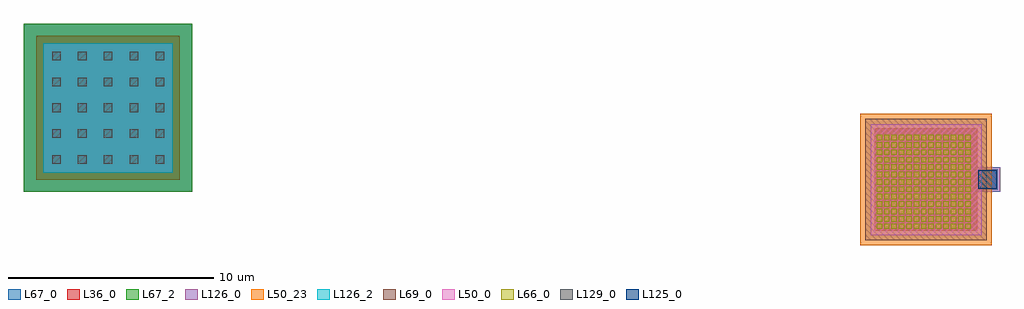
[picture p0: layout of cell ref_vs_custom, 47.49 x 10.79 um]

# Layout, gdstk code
import gdstk
lib = gdstk.Library(unit=1e-6, precision=1e-09)
def R(c, l, rs):  # rectangles x0, y0, x1, y1
    for r in rs: c.add(gdstk.rectangle(r[:2], r[2:], *l))
def A(c, l, x, y, w, h, nx, ny, dx, dy):  # array of equal rectangles
    R(c, l, [(x+i*dx, y+j*dy, x+i*dx+w, y+j*dy+h) for i in range(nx) for j in range(ny)])
L36_0 = (36, 0)
L50_0 = (50, 0)
L50_23 = (50, 23)
L66_0 = (66, 0)
L67_0 = (67, 0)
L67_2 = (67, 2)
L69_0 = (69, 0)
L125_0 = (125, 0)
L126_0 = (126, 0)
L126_2 = (126, 2)
L129_0 = (129, 0)

cmim = lib.new_cell('cmim')
R(cmim, L36_0, [(0,0,6.99,6.99)])
R(cmim, L67_0, [(-0.6,-0.6,7.59,7.59)])
R(cmim, L67_2, [(-0.6,-0.6,7.59,7.59)])
R(cmim, L126_0, [(0.345,0.345,6.645,6.645)])
R(cmim, L126_2, [(0.345,0.345,6.645,6.645)])
A(cmim, L129_0, 0.765, 0.765, 0.42, 0.42, 5, 5, 1.26, 1.26)
cmim.add(gdstk.Label('cmim', (3.495,3.495), layer=63, texttype=0))
cmim.add(gdstk.Label('c=74.620f', (3.495,3.495), layer=63, texttype=0))

rectangle_gdsfactorypcom = lib.new_cell('rectangle_gdsfactorypcomponentspshapesprectangle_S5p4_5_b63a100d')
R(rectangle_gdsfactorypcom, L50_0, [(-2.7,-2.7,2.7,2.7)])

c_rectangle_gdsfactorypcom = lib.new_cell('rectangle_gdsfactorypcomponentspshapesprectangle_S5_5_L_ae2a6a6b')
R(c_rectangle_gdsfactorypcom, L36_0, [(-2.5,-2.5,2.5,2.5)])

c_rectangle_gdsfactorypcom_ = lib.new_cell('rectangle_gdsfactorypcomponentspshapesprectangle_S5_5_L_c7f514b2')
R(c_rectangle_gdsfactorypcom_, L67_0, [(-2.5,-2.5,2.5,2.5)])

c_rectangle_gdsfactorypcom__ = lib.new_cell('rectangle_gdsfactorypcomponentspshapesprectangle_S0p26__4a819c78')
R(c_rectangle_gdsfactorypcom__, L66_0, [(-0.13,-0.13,0.13,0.13)])

c_rectangle_gdsfactorypcom___ = lib.new_cell('rectangle_gdsfactorypcomponentspshapesprectangle_S1p2_1_8ba3885d')
R(c_rectangle_gdsfactorypcom___, L50_0, [(0,0,1.2,1)])

c_rectangle_gdsfactorypcom____ = lib.new_cell('rectangle_gdsfactorypcomponentspshapesprectangle_S1_1_L_4ec315f6')
R(c_rectangle_gdsfactorypcom____, L67_0, [(0,0,1,1)])

c_rectangle_gdsfactorypcom_____ = lib.new_cell('rectangle_gdsfactorypcomponentspshapesprectangle_S0p9_0_580d79c8')
R(c_rectangle_gdsfactorypcom_____, L125_0, [(-0.45,-0.45,0.45,0.45)])

c_rectangle_gdsfactorypcom______ = lib.new_cell('rectangle_gdsfactorypcomponentspshapesprectangle_S1p2_1_e088ba0d')
R(c_rectangle_gdsfactorypcom______, L126_0, [(-0.6,-0.6,0.6,0.6)])

c_rectangle_gdsfactorypcom_______ = lib.new_cell('rectangle_gdsfactorypcomponentspshapesprectangle_S5p9_5_d3bec335')
R(c_rectangle_gdsfactorypcom_______, L69_0, [(-2.95,-2.95,2.95,2.95)])

c_rectangle_gdsfactorypcom________ = lib.new_cell('rectangle_gdsfactorypcomponentspshapesprectangle_S6p4_6_ee191b5b')
R(c_rectangle_gdsfactorypcom________, L50_23, [(-3.2,-3.2,3.2,3.2)])

cmim_w5_l5_cnone_mcmim_l = lib.new_cell('cmim_W5_L5_CNone_Mcmim_LMMetal4drawing_LMMetal5drawing__f10ce5d7')
cmim_w5_l5_cnone_mcmim_l.add(gdstk.Reference(rectangle_gdsfactorypcom, (0,0)))
cmim_w5_l5_cnone_mcmim_l.add(gdstk.Reference(c_rectangle_gdsfactorypcom, (0,0)))
cmim_w5_l5_cnone_mcmim_l.add(gdstk.Reference(c_rectangle_gdsfactorypcom_, (0,0)))
cmim_w5_l5_cnone_mcmim_l.add(gdstk.Reference(c_rectangle_gdsfactorypcom__, (-2.27,-0.11)))
cmim_w5_l5_cnone_mcmim_l.add(gdstk.Reference(c_rectangle_gdsfactorypcom__, (-1.91,-0.11)))
cmim_w5_l5_cnone_mcmim_l.add(gdstk.Reference(c_rectangle_gdsfactorypcom__, (-1.55,-0.11)))
cmim_w5_l5_cnone_mcmim_l.add(gdstk.Reference(c_rectangle_gdsfactorypcom__, (-1.19,-0.11)))
cmim_w5_l5_cnone_mcmim_l.add(gdstk.Reference(c_rectangle_gdsfactorypcom__, (-0.83,-0.11)))
cmim_w5_l5_cnone_mcmim_l.add(gdstk.Reference(c_rectangle_gdsfactorypcom__, (-0.47,-0.11)))
cmim_w5_l5_cnone_mcmim_l.add(gdstk.Reference(c_rectangle_gdsfactorypcom__, (-0.11,-0.11)))
cmim_w5_l5_cnone_mcmim_l.add(gdstk.Reference(c_rectangle_gdsfactorypcom__, (0.25,-2.27)))
cmim_w5_l5_cnone_mcmim_l.add(gdstk.Reference(c_rectangle_gdsfactorypcom__, (0.25,-1.91)))
cmim_w5_l5_cnone_mcmim_l.add(gdstk.Reference(c_rectangle_gdsfactorypcom__, (0.25,-1.55)))
cmim_w5_l5_cnone_mcmim_l.add(gdstk.Reference(c_rectangle_gdsfactorypcom__, (0.25,-1.19)))
cmim_w5_l5_cnone_mcmim_l.add(gdstk.Reference(c_rectangle_gdsfactorypcom__, (0.25,-0.83)))
cmim_w5_l5_cnone_mcmim_l.add(gdstk.Reference(c_rectangle_gdsfactorypcom__, (0.25,-0.47)))
cmim_w5_l5_cnone_mcmim_l.add(gdstk.Reference(c_rectangle_gdsfactorypcom__, (0.25,-0.11)))
cmim_w5_l5_cnone_mcmim_l.add(gdstk.Reference(c_rectangle_gdsfactorypcom__, (0.25,0.25)))
cmim_w5_l5_cnone_mcmim_l.add(gdstk.Reference(c_rectangle_gdsfactorypcom__, (0.25,0.61)))
cmim_w5_l5_cnone_mcmim_l.add(gdstk.Reference(c_rectangle_gdsfactorypcom__, (0.25,0.97)))
cmim_w5_l5_cnone_mcmim_l.add(gdstk.Reference(c_rectangle_gdsfactorypcom__, (0.25,1.33)))
cmim_w5_l5_cnone_mcmim_l.add(gdstk.Reference(c_rectangle_gdsfactorypcom__, (0.25,1.69)))
cmim_w5_l5_cnone_mcmim_l.add(gdstk.Reference(c_rectangle_gdsfactorypcom__, (0.25,2.05)))
cmim_w5_l5_cnone_mcmim_l.add(gdstk.Reference(c_rectangle_gdsfactorypcom__, (0.61,-0.11)))
cmim_w5_l5_cnone_mcmim_l.add(gdstk.Reference(c_rectangle_gdsfactorypcom__, (0.97,-0.11)))
cmim_w5_l5_cnone_mcmim_l.add(gdstk.Reference(c_rectangle_gdsfactorypcom__, (1.33,-0.11)))
cmim_w5_l5_cnone_mcmim_l.add(gdstk.Reference(c_rectangle_gdsfactorypcom__, (1.69,-0.11)))
cmim_w5_l5_cnone_mcmim_l.add(gdstk.Reference(c_rectangle_gdsfactorypcom__, (2.05,-0.11)))
cmim_w5_l5_cnone_mcmim_l.add(gdstk.Reference(c_rectangle_gdsfactorypcom___, (-2.7,-0.5)))
cmim_w5_l5_cnone_mcmim_l.add(gdstk.Reference(c_rectangle_gdsfactorypcom____, (2.5,-0.5)))
cmim_w5_l5_cnone_mcmim_l.add(gdstk.Reference(c_rectangle_gdsfactorypcom_____, (3,0)))
cmim_w5_l5_cnone_mcmim_l.add(gdstk.Reference(c_rectangle_gdsfactorypcom______, (3,0)))
cmim_w5_l5_cnone_mcmim_l.add(gdstk.Reference(c_rectangle_gdsfactorypcom_______, (0,0)))
cmim_w5_l5_cnone_mcmim_l.add(gdstk.Reference(c_rectangle_gdsfactorypcom________, (0,0)))
cmim_w5_l5_cnone_mcmim_l.add(gdstk.Reference(c_rectangle_gdsfactorypcom__, (0.97,1.33)))
cmim_w5_l5_cnone_mcmim_l.add(gdstk.Reference(c_rectangle_gdsfactorypcom__, (0.97,1.69)))
cmim_w5_l5_cnone_mcmim_l.add(gdstk.Reference(c_rectangle_gdsfactorypcom__, (0.97,2.05)))
cmim_w5_l5_cnone_mcmim_l.add(gdstk.Reference(c_rectangle_gdsfactorypcom__, (0.61,0.61)))
cmim_w5_l5_cnone_mcmim_l.add(gdstk.Reference(c_rectangle_gdsfactorypcom__, (1.33,0.25)))
cmim_w5_l5_cnone_mcmim_l.add(gdstk.Reference(c_rectangle_gdsfactorypcom__, (1.33,0.61)))
cmim_w5_l5_cnone_mcmim_l.add(gdstk.Reference(c_rectangle_gdsfactorypcom__, (1.33,0.97)))
cmim_w5_l5_cnone_mcmim_l.add(gdstk.Reference(c_rectangle_gdsfactorypcom__, (1.33,1.33)))
cmim_w5_l5_cnone_mcmim_l.add(gdstk.Reference(c_rectangle_gdsfactorypcom__, (1.33,1.69)))
cmim_w5_l5_cnone_mcmim_l.add(gdstk.Reference(c_rectangle_gdsfactorypcom__, (1.33,2.05)))
cmim_w5_l5_cnone_mcmim_l.add(gdstk.Reference(c_rectangle_gdsfactorypcom__, (0.61,0.97)))
cmim_w5_l5_cnone_mcmim_l.add(gdstk.Reference(c_rectangle_gdsfactorypcom__, (1.69,0.25)))
cmim_w5_l5_cnone_mcmim_l.add(gdstk.Reference(c_rectangle_gdsfactorypcom__, (1.69,0.61)))
cmim_w5_l5_cnone_mcmim_l.add(gdstk.Reference(c_rectangle_gdsfactorypcom__, (1.69,0.97)))
cmim_w5_l5_cnone_mcmim_l.add(gdstk.Reference(c_rectangle_gdsfactorypcom__, (1.69,1.33)))
cmim_w5_l5_cnone_mcmim_l.add(gdstk.Reference(c_rectangle_gdsfactorypcom__, (1.69,1.69)))
cmim_w5_l5_cnone_mcmim_l.add(gdstk.Reference(c_rectangle_gdsfactorypcom__, (1.69,2.05)))
cmim_w5_l5_cnone_mcmim_l.add(gdstk.Reference(c_rectangle_gdsfactorypcom__, (0.61,1.33)))
cmim_w5_l5_cnone_mcmim_l.add(gdstk.Reference(c_rectangle_gdsfactorypcom__, (2.05,0.25)))
cmim_w5_l5_cnone_mcmim_l.add(gdstk.Reference(c_rectangle_gdsfactorypcom__, (2.05,0.61)))
cmim_w5_l5_cnone_mcmim_l.add(gdstk.Reference(c_rectangle_gdsfactorypcom__, (2.05,0.97)))
cmim_w5_l5_cnone_mcmim_l.add(gdstk.Reference(c_rectangle_gdsfactorypcom__, (2.05,1.33)))
cmim_w5_l5_cnone_mcmim_l.add(gdstk.Reference(c_rectangle_gdsfactorypcom__, (2.05,1.69)))
cmim_w5_l5_cnone_mcmim_l.add(gdstk.Reference(c_rectangle_gdsfactorypcom__, (2.05,2.05)))
cmim_w5_l5_cnone_mcmim_l.add(gdstk.Reference(c_rectangle_gdsfactorypcom__, (0.61,1.69)))
cmim_w5_l5_cnone_mcmim_l.add(gdstk.Reference(c_rectangle_gdsfactorypcom__, (0.61,2.05)))
cmim_w5_l5_cnone_mcmim_l.add(gdstk.Reference(c_rectangle_gdsfactorypcom__, (0.61,0.25)))
cmim_w5_l5_cnone_mcmim_l.add(gdstk.Reference(c_rectangle_gdsfactorypcom__, (0.97,0.25)))
cmim_w5_l5_cnone_mcmim_l.add(gdstk.Reference(c_rectangle_gdsfactorypcom__, (0.97,0.61)))
cmim_w5_l5_cnone_mcmim_l.add(gdstk.Reference(c_rectangle_gdsfactorypcom__, (0.97,0.97)))
cmim_w5_l5_cnone_mcmim_l.add(gdstk.Reference(c_rectangle_gdsfactorypcom__, (-1.55,1.69)))
cmim_w5_l5_cnone_mcmim_l.add(gdstk.Reference(c_rectangle_gdsfactorypcom__, (-1.55,2.05)))
cmim_w5_l5_cnone_mcmim_l.add(gdstk.Reference(c_rectangle_gdsfactorypcom__, (-2.27,0.97)))
cmim_w5_l5_cnone_mcmim_l.add(gdstk.Reference(c_rectangle_gdsfactorypcom__, (-1.19,0.25)))
cmim_w5_l5_cnone_mcmim_l.add(gdstk.Reference(c_rectangle_gdsfactorypcom__, (-1.19,0.61)))
cmim_w5_l5_cnone_mcmim_l.add(gdstk.Reference(c_rectangle_gdsfactorypcom__, (-1.19,0.97)))
cmim_w5_l5_cnone_mcmim_l.add(gdstk.Reference(c_rectangle_gdsfactorypcom__, (-1.19,1.33)))
cmim_w5_l5_cnone_mcmim_l.add(gdstk.Reference(c_rectangle_gdsfactorypcom__, (-1.19,1.69)))
cmim_w5_l5_cnone_mcmim_l.add(gdstk.Reference(c_rectangle_gdsfactorypcom__, (-1.19,2.05)))
cmim_w5_l5_cnone_mcmim_l.add(gdstk.Reference(c_rectangle_gdsfactorypcom__, (-2.27,1.33)))
cmim_w5_l5_cnone_mcmim_l.add(gdstk.Reference(c_rectangle_gdsfactorypcom__, (-0.83,0.25)))
cmim_w5_l5_cnone_mcmim_l.add(gdstk.Reference(c_rectangle_gdsfactorypcom__, (-0.83,0.61)))
cmim_w5_l5_cnone_mcmim_l.add(gdstk.Reference(c_rectangle_gdsfactorypcom__, (-0.83,0.97)))
cmim_w5_l5_cnone_mcmim_l.add(gdstk.Reference(c_rectangle_gdsfactorypcom__, (-0.83,1.33)))
cmim_w5_l5_cnone_mcmim_l.add(gdstk.Reference(c_rectangle_gdsfactorypcom__, (-0.83,1.69)))
cmim_w5_l5_cnone_mcmim_l.add(gdstk.Reference(c_rectangle_gdsfactorypcom__, (-0.83,2.05)))
cmim_w5_l5_cnone_mcmim_l.add(gdstk.Reference(c_rectangle_gdsfactorypcom__, (-2.27,1.69)))
cmim_w5_l5_cnone_mcmim_l.add(gdstk.Reference(c_rectangle_gdsfactorypcom__, (-0.47,0.25)))
cmim_w5_l5_cnone_mcmim_l.add(gdstk.Reference(c_rectangle_gdsfactorypcom__, (-0.47,0.61)))
cmim_w5_l5_cnone_mcmim_l.add(gdstk.Reference(c_rectangle_gdsfactorypcom__, (-0.47,0.97)))
cmim_w5_l5_cnone_mcmim_l.add(gdstk.Reference(c_rectangle_gdsfactorypcom__, (-0.47,1.33)))
cmim_w5_l5_cnone_mcmim_l.add(gdstk.Reference(c_rectangle_gdsfactorypcom__, (-0.47,1.69)))
cmim_w5_l5_cnone_mcmim_l.add(gdstk.Reference(c_rectangle_gdsfactorypcom__, (-0.47,2.05)))
cmim_w5_l5_cnone_mcmim_l.add(gdstk.Reference(c_rectangle_gdsfactorypcom__, (-2.27,2.05)))
cmim_w5_l5_cnone_mcmim_l.add(gdstk.Reference(c_rectangle_gdsfactorypcom__, (-0.11,0.25)))
cmim_w5_l5_cnone_mcmim_l.add(gdstk.Reference(c_rectangle_gdsfactorypcom__, (-0.11,0.61)))
cmim_w5_l5_cnone_mcmim_l.add(gdstk.Reference(c_rectangle_gdsfactorypcom__, (-0.11,0.97)))
cmim_w5_l5_cnone_mcmim_l.add(gdstk.Reference(c_rectangle_gdsfactorypcom__, (-0.11,1.33)))
cmim_w5_l5_cnone_mcmim_l.add(gdstk.Reference(c_rectangle_gdsfactorypcom__, (-0.11,1.69)))
cmim_w5_l5_cnone_mcmim_l.add(gdstk.Reference(c_rectangle_gdsfactorypcom__, (-0.11,2.05)))
cmim_w5_l5_cnone_mcmim_l.add(gdstk.Reference(c_rectangle_gdsfactorypcom__, (-2.27,0.25)))
cmim_w5_l5_cnone_mcmim_l.add(gdstk.Reference(c_rectangle_gdsfactorypcom__, (-1.91,0.25)))
cmim_w5_l5_cnone_mcmim_l.add(gdstk.Reference(c_rectangle_gdsfactorypcom__, (-1.91,0.61)))
cmim_w5_l5_cnone_mcmim_l.add(gdstk.Reference(c_rectangle_gdsfactorypcom__, (-1.91,0.97)))
cmim_w5_l5_cnone_mcmim_l.add(gdstk.Reference(c_rectangle_gdsfactorypcom__, (-1.91,1.33)))
cmim_w5_l5_cnone_mcmim_l.add(gdstk.Reference(c_rectangle_gdsfactorypcom__, (-1.91,1.69)))
cmim_w5_l5_cnone_mcmim_l.add(gdstk.Reference(c_rectangle_gdsfactorypcom__, (-1.91,2.05)))
cmim_w5_l5_cnone_mcmim_l.add(gdstk.Reference(c_rectangle_gdsfactorypcom__, (-2.27,0.61)))
cmim_w5_l5_cnone_mcmim_l.add(gdstk.Reference(c_rectangle_gdsfactorypcom__, (-1.55,0.25)))
cmim_w5_l5_cnone_mcmim_l.add(gdstk.Reference(c_rectangle_gdsfactorypcom__, (-1.55,0.61)))
cmim_w5_l5_cnone_mcmim_l.add(gdstk.Reference(c_rectangle_gdsfactorypcom__, (-1.55,0.97)))
cmim_w5_l5_cnone_mcmim_l.add(gdstk.Reference(c_rectangle_gdsfactorypcom__, (-1.55,1.33)))
cmim_w5_l5_cnone_mcmim_l.add(gdstk.Reference(c_rectangle_gdsfactorypcom__, (-1.55,-0.47)))
cmim_w5_l5_cnone_mcmim_l.add(gdstk.Reference(c_rectangle_gdsfactorypcom__, (-1.91,-1.91)))
cmim_w5_l5_cnone_mcmim_l.add(gdstk.Reference(c_rectangle_gdsfactorypcom__, (-1.91,-1.55)))
cmim_w5_l5_cnone_mcmim_l.add(gdstk.Reference(c_rectangle_gdsfactorypcom__, (-1.91,-1.19)))
cmim_w5_l5_cnone_mcmim_l.add(gdstk.Reference(c_rectangle_gdsfactorypcom__, (-0.47,-2.27)))
cmim_w5_l5_cnone_mcmim_l.add(gdstk.Reference(c_rectangle_gdsfactorypcom__, (-0.47,-1.91)))
cmim_w5_l5_cnone_mcmim_l.add(gdstk.Reference(c_rectangle_gdsfactorypcom__, (-0.47,-1.55)))
cmim_w5_l5_cnone_mcmim_l.add(gdstk.Reference(c_rectangle_gdsfactorypcom__, (-0.47,-1.19)))
cmim_w5_l5_cnone_mcmim_l.add(gdstk.Reference(c_rectangle_gdsfactorypcom__, (-0.47,-0.83)))
cmim_w5_l5_cnone_mcmim_l.add(gdstk.Reference(c_rectangle_gdsfactorypcom__, (-0.47,-0.47)))
cmim_w5_l5_cnone_mcmim_l.add(gdstk.Reference(c_rectangle_gdsfactorypcom__, (-1.91,-0.83)))
cmim_w5_l5_cnone_mcmim_l.add(gdstk.Reference(c_rectangle_gdsfactorypcom__, (-1.91,-0.47)))
cmim_w5_l5_cnone_mcmim_l.add(gdstk.Reference(c_rectangle_gdsfactorypcom__, (-2.27,-1.91)))
cmim_w5_l5_cnone_mcmim_l.add(gdstk.Reference(c_rectangle_gdsfactorypcom__, (-2.27,-1.55)))
cmim_w5_l5_cnone_mcmim_l.add(gdstk.Reference(c_rectangle_gdsfactorypcom__, (-1.19,-2.27)))
cmim_w5_l5_cnone_mcmim_l.add(gdstk.Reference(c_rectangle_gdsfactorypcom__, (-1.19,-1.91)))
cmim_w5_l5_cnone_mcmim_l.add(gdstk.Reference(c_rectangle_gdsfactorypcom__, (-1.19,-1.55)))
cmim_w5_l5_cnone_mcmim_l.add(gdstk.Reference(c_rectangle_gdsfactorypcom__, (-0.11,-2.27)))
cmim_w5_l5_cnone_mcmim_l.add(gdstk.Reference(c_rectangle_gdsfactorypcom__, (-0.11,-1.91)))
cmim_w5_l5_cnone_mcmim_l.add(gdstk.Reference(c_rectangle_gdsfactorypcom__, (-0.11,-1.55)))
cmim_w5_l5_cnone_mcmim_l.add(gdstk.Reference(c_rectangle_gdsfactorypcom__, (-0.11,-1.19)))
cmim_w5_l5_cnone_mcmim_l.add(gdstk.Reference(c_rectangle_gdsfactorypcom__, (-0.11,-0.83)))
cmim_w5_l5_cnone_mcmim_l.add(gdstk.Reference(c_rectangle_gdsfactorypcom__, (-0.11,-0.47)))
cmim_w5_l5_cnone_mcmim_l.add(gdstk.Reference(c_rectangle_gdsfactorypcom__, (-1.19,-1.19)))
cmim_w5_l5_cnone_mcmim_l.add(gdstk.Reference(c_rectangle_gdsfactorypcom__, (-1.19,-0.83)))
cmim_w5_l5_cnone_mcmim_l.add(gdstk.Reference(c_rectangle_gdsfactorypcom__, (-1.19,-0.47)))
cmim_w5_l5_cnone_mcmim_l.add(gdstk.Reference(c_rectangle_gdsfactorypcom__, (-2.27,-1.19)))
cmim_w5_l5_cnone_mcmim_l.add(gdstk.Reference(c_rectangle_gdsfactorypcom__, (-2.27,-0.83)))
cmim_w5_l5_cnone_mcmim_l.add(gdstk.Reference(c_rectangle_gdsfactorypcom__, (-2.27,-0.47)))
cmim_w5_l5_cnone_mcmim_l.add(gdstk.Reference(c_rectangle_gdsfactorypcom__, (-2.27,-2.27)))
cmim_w5_l5_cnone_mcmim_l.add(gdstk.Reference(c_rectangle_gdsfactorypcom__, (-1.91,-2.27)))
cmim_w5_l5_cnone_mcmim_l.add(gdstk.Reference(c_rectangle_gdsfactorypcom__, (-1.55,-2.27)))
cmim_w5_l5_cnone_mcmim_l.add(gdstk.Reference(c_rectangle_gdsfactorypcom__, (-1.55,-1.91)))
cmim_w5_l5_cnone_mcmim_l.add(gdstk.Reference(c_rectangle_gdsfactorypcom__, (-0.83,-2.27)))
cmim_w5_l5_cnone_mcmim_l.add(gdstk.Reference(c_rectangle_gdsfactorypcom__, (-0.83,-1.91)))
cmim_w5_l5_cnone_mcmim_l.add(gdstk.Reference(c_rectangle_gdsfactorypcom__, (-0.83,-1.55)))
cmim_w5_l5_cnone_mcmim_l.add(gdstk.Reference(c_rectangle_gdsfactorypcom__, (-0.83,-1.19)))
cmim_w5_l5_cnone_mcmim_l.add(gdstk.Reference(c_rectangle_gdsfactorypcom__, (-0.83,-0.83)))
cmim_w5_l5_cnone_mcmim_l.add(gdstk.Reference(c_rectangle_gdsfactorypcom__, (-0.83,-0.47)))
cmim_w5_l5_cnone_mcmim_l.add(gdstk.Reference(c_rectangle_gdsfactorypcom__, (-1.55,-1.55)))
cmim_w5_l5_cnone_mcmim_l.add(gdstk.Reference(c_rectangle_gdsfactorypcom__, (-1.55,-1.19)))
cmim_w5_l5_cnone_mcmim_l.add(gdstk.Reference(c_rectangle_gdsfactorypcom__, (-1.55,-0.83)))
cmim_w5_l5_cnone_mcmim_l.add(gdstk.Reference(c_rectangle_gdsfactorypcom__, (1.69,-1.55)))
cmim_w5_l5_cnone_mcmim_l.add(gdstk.Reference(c_rectangle_gdsfactorypcom__, (1.69,-1.19)))
cmim_w5_l5_cnone_mcmim_l.add(gdstk.Reference(c_rectangle_gdsfactorypcom__, (1.69,-0.83)))
cmim_w5_l5_cnone_mcmim_l.add(gdstk.Reference(c_rectangle_gdsfactorypcom__, (1.69,-0.47)))
cmim_w5_l5_cnone_mcmim_l.add(gdstk.Reference(c_rectangle_gdsfactorypcom__, (0.61,-1.19)))
cmim_w5_l5_cnone_mcmim_l.add(gdstk.Reference(c_rectangle_gdsfactorypcom__, (0.61,-0.83)))
cmim_w5_l5_cnone_mcmim_l.add(gdstk.Reference(c_rectangle_gdsfactorypcom__, (0.61,-0.47)))
cmim_w5_l5_cnone_mcmim_l.add(gdstk.Reference(c_rectangle_gdsfactorypcom__, (0.61,-2.27)))
cmim_w5_l5_cnone_mcmim_l.add(gdstk.Reference(c_rectangle_gdsfactorypcom__, (0.97,-2.27)))
cmim_w5_l5_cnone_mcmim_l.add(gdstk.Reference(c_rectangle_gdsfactorypcom__, (1.33,-2.27)))
cmim_w5_l5_cnone_mcmim_l.add(gdstk.Reference(c_rectangle_gdsfactorypcom__, (1.33,-1.91)))
cmim_w5_l5_cnone_mcmim_l.add(gdstk.Reference(c_rectangle_gdsfactorypcom__, (2.05,-2.27)))
cmim_w5_l5_cnone_mcmim_l.add(gdstk.Reference(c_rectangle_gdsfactorypcom__, (2.05,-1.91)))
cmim_w5_l5_cnone_mcmim_l.add(gdstk.Reference(c_rectangle_gdsfactorypcom__, (2.05,-1.55)))
cmim_w5_l5_cnone_mcmim_l.add(gdstk.Reference(c_rectangle_gdsfactorypcom__, (2.05,-1.19)))
cmim_w5_l5_cnone_mcmim_l.add(gdstk.Reference(c_rectangle_gdsfactorypcom__, (2.05,-0.83)))
cmim_w5_l5_cnone_mcmim_l.add(gdstk.Reference(c_rectangle_gdsfactorypcom__, (2.05,-0.47)))
cmim_w5_l5_cnone_mcmim_l.add(gdstk.Reference(c_rectangle_gdsfactorypcom__, (1.33,-1.55)))
cmim_w5_l5_cnone_mcmim_l.add(gdstk.Reference(c_rectangle_gdsfactorypcom__, (1.33,-1.19)))
cmim_w5_l5_cnone_mcmim_l.add(gdstk.Reference(c_rectangle_gdsfactorypcom__, (1.33,-0.83)))
cmim_w5_l5_cnone_mcmim_l.add(gdstk.Reference(c_rectangle_gdsfactorypcom__, (1.33,-0.47)))
cmim_w5_l5_cnone_mcmim_l.add(gdstk.Reference(c_rectangle_gdsfactorypcom__, (0.97,-1.91)))
cmim_w5_l5_cnone_mcmim_l.add(gdstk.Reference(c_rectangle_gdsfactorypcom__, (0.97,-1.55)))
cmim_w5_l5_cnone_mcmim_l.add(gdstk.Reference(c_rectangle_gdsfactorypcom__, (0.97,-1.19)))
cmim_w5_l5_cnone_mcmim_l.add(gdstk.Reference(c_rectangle_gdsfactorypcom__, (0.97,-0.83)))
cmim_w5_l5_cnone_mcmim_l.add(gdstk.Reference(c_rectangle_gdsfactorypcom__, (0.97,-0.47)))
cmim_w5_l5_cnone_mcmim_l.add(gdstk.Reference(c_rectangle_gdsfactorypcom__, (0.61,-1.91)))
cmim_w5_l5_cnone_mcmim_l.add(gdstk.Reference(c_rectangle_gdsfactorypcom__, (0.61,-1.55)))
cmim_w5_l5_cnone_mcmim_l.add(gdstk.Reference(c_rectangle_gdsfactorypcom__, (1.69,-2.27)))
cmim_w5_l5_cnone_mcmim_l.add(gdstk.Reference(c_rectangle_gdsfactorypcom__, (1.69,-1.91)))

ref_vs_custom = lib.new_cell('ref_vs_custom')
ref_vs_custom.add(gdstk.Reference(cmim, (-23.495,0)))
ref_vs_custom.add(gdstk.Reference(cmim_w5_l5_cnone_mcmim_l, (19.8,0)))
ref_vs_custom.add(gdstk.Label('REFERENCE\n(from GDS)', (-20,-15), layer=8, texttype=0))
ref_vs_custom.add(gdstk.Label('CUSTOM\n(programmatic)', (20,-15), layer=8, texttype=0))
ref_vs_custom.add(gdstk.Label('REFERENCE vs CUSTOM COMPARISON', (0,20), layer=8, texttype=0))

lib.write_gds('ref_vs_custom.gds')
